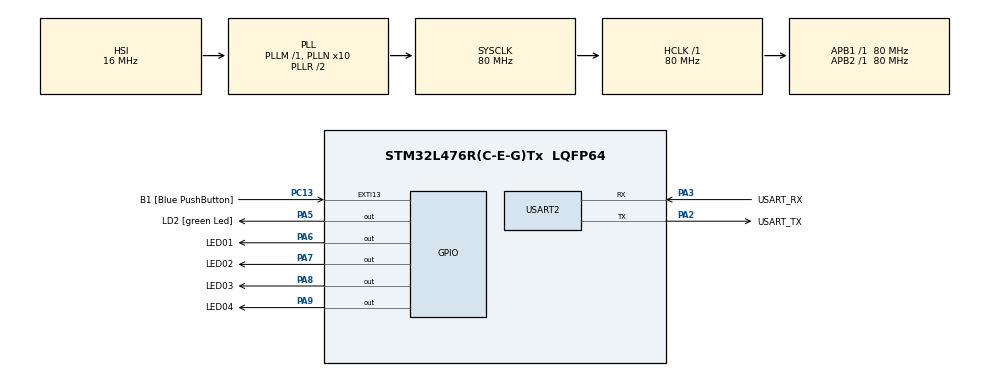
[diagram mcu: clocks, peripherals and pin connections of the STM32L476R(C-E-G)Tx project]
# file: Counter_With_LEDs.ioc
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Mcu.Family=STM32L4
PA2.GPIO_PuPd=GPIO_NOPULL
RCC.CortexFreq_Value=80000000
PH0-OSC_IN\ (PH0).Signal=RCC_OSC_IN
PA3.GPIO_PuPd=GPIO_NOPULL
PA2.GPIO_Speed=GPIO_SPEED_FREQ_VERY_HIGH
PA6.GPIO_Label=LED01
PC15-OSC32_OUT\ (PC15).Mode=LSE-External-Oscillator
PC13.GPIO_Label=B1 [Blue PushButton]
PA3.GPIO_Speed=GPIO_SPEED_FREQ_VERY_HIGH
RCC.SYSCLKSource=RCC_SYSCLKSOURCE_PLLCLK
ProjectManager.StackSize=0x400
PB3\ (JTDO-TRACESWO).Signal=SYS_JTDO-SWO
PC14-OSC32_IN\ (PC14).Mode=LSE-External-Oscillator
PA14\ (JTCK-SWCLK).Signal=SYS_JTCK-SWCLK
RCC.HCLKFreq_Value=80000000
RCC.APB2TimFreq_Value=80000000
RCC.AHBFreq_Value=80000000
RCC.PREFETCH_ENABLE=1
RCC.HSE_VALUE=8000000
USART2.VirtualMode-Asynchronous=VM_ASYNC
PA5.GPIO_PuPd=GPIO_NOPULL
PC13.GPIO_PuPd=GPIO_NOPULL
PA8.Signal=GPIO_Output
Mcu.Package=LQFP64
PA6.Signal=GPIO_Output
PA2.GPIO_Label=USART_TX
RCC.APB1TimFreq_Value=80000000
PA13\ (JTMS-SWDIO).Signal=SYS_JTMS-SWDIO
PA3.Signal=USART2_RX
PA2.GPIO_Mode=GPIO_MODE_AF_PP
RCC.MSI_VALUE=4000000
RCC.PLLSourceVirtual=RCC_PLLSOURCE_HSI
PA14\ (JTCK-SWCLK).Mode=Serial_Wire
PC13.Signal=GPXTI13
PA9.GPIO_Label=LED04
PC15-OSC32_OUT\ (PC15).Signal=RCC_OSC32_OUT
PA14\ (JTCK-SWCLK).GPIO_Label=TCK
PB3\ (JTDO-TRACESWO).GPIO_Label=SWO
PH1-OSC_OUT\ (PH1).Signal=RCC_OSC_OUT
PA3.Mode=Asynchronous
PA8.GPIO_Label=LED03
ProjectManager.TargetToolchain=EWARM V8.32
PA3.GPIO_Mode=GPIO_MODE_AF_PP
PA9.Signal=GPIO_Output
RCC.USBFreq_Value=64000000
PA5.Signal=GPIO_Output
board=NUCLEO-L476RG
RCC.VCOOutputFreq_Value=160000000
RCC.APB2Freq_Value=80000000
PA5.GPIO_ModeDefaultOutputPP=GPIO_MODE_OUTPUT_PP
PA13\ (JTMS-SWDIO).GPIO_Label=TMS
RCC.ADCFreq_Value=64000000
Mcu.Name=STM32L476R(C-E-G)Tx
PA2.Signal=USART2_TX
PA13\ (JTMS-SWDIO).Mode=Serial_Wire
RCC.SYSCLKFreq_VALUE=80000000
PA7.GPIO_Label=LED02
PA5.GPIO_Label=LD2 [green Led]
PC13.GPIO_ModeDefaultEXTI=GPIO_MODE_IT_FALLING
PC14-OSC32_IN\ (PC14).Signal=RCC_OSC32_IN
ProjectManager.HeapSize=0x200
RCC.HSI_VALUE=16000000
PA5.GPIO_Speed=GPIO_SPEED_FREQ_LOW
NVIC.PriorityGroup=NVIC_PRIORITYGROUP_4
RCC.PLLN=10
PA2.Mode=Asynchronous
RCC.APB1Freq_Value=80000000
PA3.GPIO_Label=USART_RX
PA7.Signal=GPIO_Output

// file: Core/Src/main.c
/* USER CODE BEGIN Header */
/**
  ******************************************************************************
  * @file           : main.c
  * @brief          : Main program body
  ******************************************************************************
  * @attention
  *
  * <h2><center>&copy; Copyright (c) 2020 STMicroelectronics.
  * All rights reserved.</center></h2>
  *
  * This software component is licensed by ST under BSD 3-Clause license,
  * the "License"; You may not use this file except in compliance with the
  * License. You may obtain a copy of the License at:
  *                        opensource.org/licenses/BSD-3-Clause
  *
  ******************************************************************************
  */
/* USER CODE END Header */
#include "main.h"
#include "math.h"

/* USER CODE BEGIN PD */

#define led1 GPIO_PIN_9
#define led2 GPIO_PIN_8
#define led3 GPIO_PIN_7
#define led4 GPIO_PIN_6
int LEDS[] = {led1, led2, led3, led4};
/* USER CODE END PD */

UART_HandleTypeDef huart2;

void SystemClock_Config(void);
static void MX_GPIO_Init(void);
static void MX_USART2_UART_Init(void);

/* USER CODE BEGIN 0 */
void Display(int No, int L)
{
  int j, m, i;
  m = L - 1;
  for(i = 0; i < L; i++)
  {
    j = pow(2.0, m);
    if((No & j) != 0)
      HAL_GPIO_WritePin(GPIOA,LEDS[i],GPIO_PIN_SET);
    else
      HAL_GPIO_WritePin(GPIOA,LEDS[i],GPIO_PIN_RESET);
    m--;
  }
}
/* USER CODE END 0 */

int main(void)
{

  /* MCU Configuration--------------------------------------------------------*/

  /* Reset of all peripherals, Initializes the Flash interface and the Systick. */
  HAL_Init();

  /* USER CODE BEGIN Init */
  int Count = 0;

  /* USER CODE END Init */

  /* Configure the system clock */
  SystemClock_Config();

  /* Initialize all configured peripherals */
  MX_GPIO_Init();
  MX_USART2_UART_Init();

  /* Infinite loop */
  while (1)
  {
    Display(Count, 4);
    if(Count == 15)
      Count = 0;
    else
      Count++;
    HAL_Delay(1000);

  }
}

void SystemClock_Config(void)
{
  RCC_OscInitTypeDef RCC_OscInitStruct = {0};
  RCC_ClkInitTypeDef RCC_ClkInitStruct = {0};
  RCC_PeriphCLKInitTypeDef PeriphClkInit = {0};

  /** Initializes the RCC Oscillators according to the specified parameters
  * in the RCC_OscInitTypeDef structure.
  */
  RCC_OscInitStruct.OscillatorType = RCC_OSCILLATORTYPE_HSI;
  RCC_OscInitStruct.HSIState = RCC_HSI_ON;
  RCC_OscInitStruct.HSICalibrationValue = RCC_HSICALIBRATION_DEFAULT;
  RCC_OscInitStruct.PLL.PLLState = RCC_PLL_ON;
  RCC_OscInitStruct.PLL.PLLSource = RCC_PLLSOURCE_HSI;
  RCC_OscInitStruct.PLL.PLLM = 1;
  RCC_OscInitStruct.PLL.PLLN = 10;
  RCC_OscInitStruct.PLL.PLLP = RCC_PLLP_DIV7;
  RCC_OscInitStruct.PLL.PLLQ = RCC_PLLQ_DIV2;
  RCC_OscInitStruct.PLL.PLLR = RCC_PLLR_DIV2;
  if (HAL_RCC_OscConfig(&RCC_OscInitStruct) != HAL_OK)
  {
    Error_Handler();
  }
  /** Initializes the CPU, AHB and APB buses clocks
  */
  RCC_ClkInitStruct.ClockType = RCC_CLOCKTYPE_HCLK|RCC_CLOCKTYPE_SYSCLK
                              |RCC_CLOCKTYPE_PCLK1|RCC_CLOCKTYPE_PCLK2;
  RCC_ClkInitStruct.SYSCLKSource = RCC_SYSCLKSOURCE_PLLCLK;
  RCC_ClkInitStruct.AHBCLKDivider = RCC_SYSCLK_DIV1;
  RCC_ClkInitStruct.APB1CLKDivider = RCC_HCLK_DIV1;
  RCC_ClkInitStruct.APB2CLKDivider = RCC_HCLK_DIV1;

  if (HAL_RCC_ClockConfig(&RCC_ClkInitStruct, FLASH_LATENCY_4) != HAL_OK)
  {
    Error_Handler();
  }
  PeriphClkInit.PeriphClockSelection = RCC_PERIPHCLK_USART2;
  PeriphClkInit.Usart2ClockSelection = RCC_USART2CLKSOURCE_PCLK1;
  if (HAL_RCCEx_PeriphCLKConfig(&PeriphClkInit) != HAL_OK)
  {
    Error_Handler();
  }
  /** Configure the main internal regulator output voltage
  */
  if (HAL_PWREx_ControlVoltageScaling(PWR_REGULATOR_VOLTAGE_SCALE1) != HAL_OK)
  {
    Error_Handler();
  }
}

static void MX_USART2_UART_Init(void)
{

  huart2.Instance = USART2;
  huart2.Init.BaudRate = 115200;
  huart2.Init.WordLength = UART_WORDLENGTH_8B;
  huart2.Init.StopBits = UART_STOPBITS_1;
  huart2.Init.Parity = UART_PARITY_NONE;
  huart2.Init.Mode = UART_MODE_TX_RX;
  huart2.Init.HwFlowCtl = UART_HWCONTROL_NONE;
  huart2.Init.OverSampling = UART_OVERSAMPLING_16;
  huart2.Init.OneBitSampling = UART_ONE_BIT_SAMPLE_DISABLE;
  huart2.AdvancedInit.AdvFeatureInit = UART_ADVFEATURE_NO_INIT;
  if (HAL_UART_Init(&huart2) != HAL_OK)
  {
    Error_Handler();
  }

}

static void MX_GPIO_Init(void)
{
  GPIO_InitTypeDef GPIO_InitStruct = {0};

  /* GPIO Ports Clock Enable */
  __HAL_RCC_GPIOC_CLK_ENABLE();
  __HAL_RCC_GPIOH_CLK_ENABLE();
  __HAL_RCC_GPIOA_CLK_ENABLE();
  __HAL_RCC_GPIOB_CLK_ENABLE();
  __HAL_RCC_GPIOD_CLK_ENABLE();

  /*Configure GPIO pin Output Level */
  HAL_GPIO_WritePin(GPIOA, LD2_Pin|LED01_Pin|LED02_Pin|LED03_Pin
                          |LED04_Pin, GPIO_PIN_RESET);

  /*Configure GPIO pin : B1_Pin */
  GPIO_InitStruct.Pin = B1_Pin;
  GPIO_InitStruct.Mode = GPIO_MODE_IT_FALLING;
  GPIO_InitStruct.Pull = GPIO_NOPULL;
  HAL_GPIO_Init(B1_GPIO_Port, &GPIO_InitStruct);

  /*Configure GPIO pins : PC0 PC1 PC2 PC3
                           PC4 PC5 PC6 PC7
                           PC8 PC9 PC10 PC11
                           PC12 */
  GPIO_InitStruct.Pin = GPIO_PIN_0|GPIO_PIN_1|GPIO_PIN_2|GPIO_PIN_3
                          |GPIO_PIN_4|GPIO_PIN_5|GPIO_PIN_6|GPIO_PIN_7
                          |GPIO_PIN_8|GPIO_PIN_9|GPIO_PIN_10|GPIO_PIN_11
                          |GPIO_PIN_12;
  GPIO_InitStruct.Mode = GPIO_MODE_ANALOG;
  GPIO_InitStruct.Pull = GPIO_NOPULL;
  HAL_GPIO_Init(GPIOC, &GPIO_InitStruct);

  /*Configure GPIO pins : PA0 PA1 PA4 PA10
                           PA11 PA12 PA15 */
  GPIO_InitStruct.Pin = GPIO_PIN_0|GPIO_PIN_1|GPIO_PIN_4|GPIO_PIN_10
                          |GPIO_PIN_11|GPIO_PIN_12|GPIO_PIN_15;
  GPIO_InitStruct.Mode = GPIO_MODE_ANALOG;
  GPIO_InitStruct.Pull = GPIO_NOPULL;
  HAL_GPIO_Init(GPIOA, &GPIO_InitStruct);

  /*Configure GPIO pins : LD2_Pin LED01_Pin LED02_Pin LED03_Pin
                           LED04_Pin */
  GPIO_InitStruct.Pin = LD2_Pin|LED01_Pin|LED02_Pin|LED03_Pin
                          |LED04_Pin;
  GPIO_InitStruct.Mode = GPIO_MODE_OUTPUT_PP;
  GPIO_InitStruct.Pull = GPIO_NOPULL;
  GPIO_InitStruct.Speed = GPIO_SPEED_FREQ_LOW;
  HAL_GPIO_Init(GPIOA, &GPIO_InitStruct);

  /*Configure GPIO pins : PB0 PB1 PB2 PB10
                           PB11 PB12 PB13 PB14
                           PB15 PB4 PB5 PB6
                           PB7 PB8 PB9 */
  GPIO_InitStruct.Pin = GPIO_PIN_0|GPIO_PIN_1|GPIO_PIN_2|GPIO_PIN_10
                          |GPIO_PIN_11|GPIO_PIN_12|GPIO_PIN_13|GPIO_PIN_14
                          |GPIO_PIN_15|GPIO_PIN_4|GPIO_PIN_5|GPIO_PIN_6
                          |GPIO_PIN_7|GPIO_PIN_8|GPIO_PIN_9;
  GPIO_InitStruct.Mode = GPIO_MODE_ANALOG;
  GPIO_InitStruct.Pull = GPIO_NOPULL;
  HAL_GPIO_Init(GPIOB, &GPIO_InitStruct);

  /*Configure GPIO pin : PD2 */
  GPIO_InitStruct.Pin = GPIO_PIN_2;
  GPIO_InitStruct.Mode = GPIO_MODE_ANALOG;
  GPIO_InitStruct.Pull = GPIO_NOPULL;
  HAL_GPIO_Init(GPIOD, &GPIO_InitStruct);

}

void Error_Handler(void)
{
}

/************************ (C) COPYRIGHT STMicroelectronics *****END OF FILE****/
